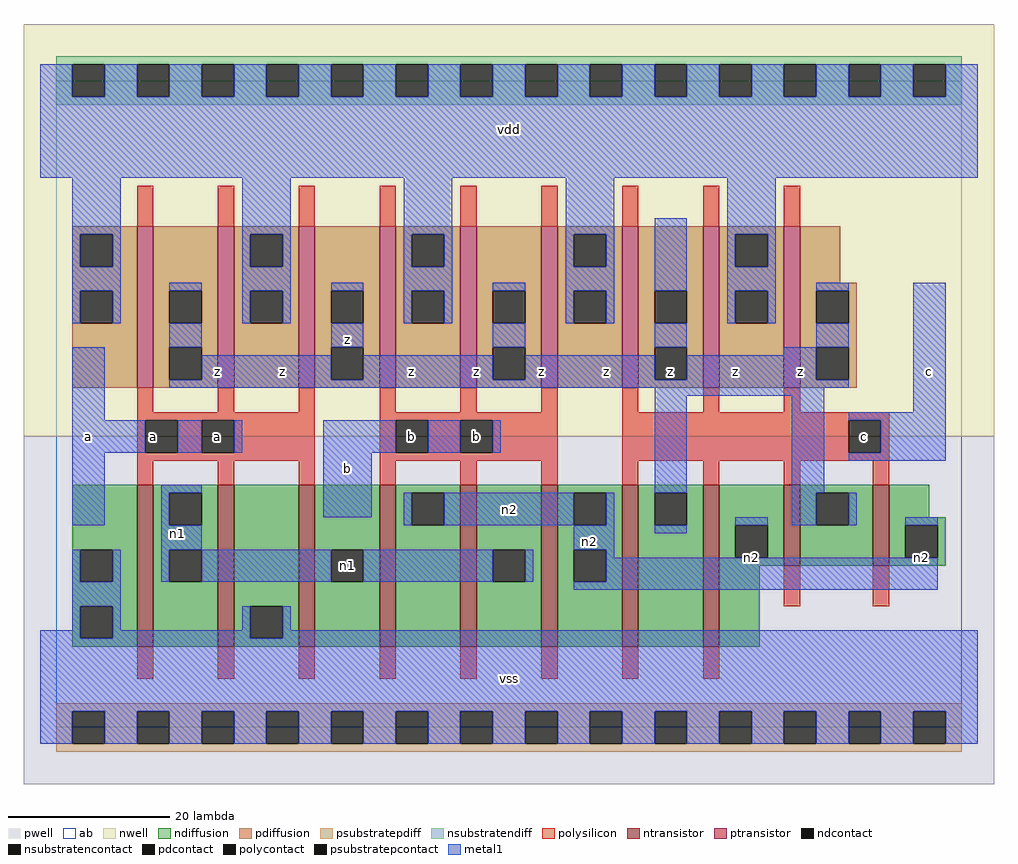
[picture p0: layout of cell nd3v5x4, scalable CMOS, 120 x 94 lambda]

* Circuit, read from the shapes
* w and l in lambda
.subckt nd3v5x4 a b c n1 n2 vdd vss z
M1 n1 a vss vss nfet w=20 l=2 m=3
M2 n2 b n1 vss nfet w=20 l=2 m=3
M3 z c n2 vss nfet w=20 l=2 m=2
M4 z c n2 vss nfet w=10 l=2 m=2
M5 z a vdd vdd pfet w=20 l=2 m=3
M6 vdd b z vdd pfet w=20 l=2 m=3
M7 z c vdd vdd pfet w=20 l=2 m=3
.ends

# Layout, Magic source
magic
tech scmos
<< ab >>
rect 0 0 112 80
<< pwell >>
rect -4 -7 116 36
<< nwell >>
rect -4 36 116 87
<< polysilicon >>
rect 10 62 12 67
rect 20 62 22 67
rect 30 62 32 67
rect 40 62 42 67
rect 50 62 52 67
rect 60 62 62 67
rect 70 62 72 67
rect 80 62 82 67
rect 90 62 92 67
rect 10 39 12 42
rect 20 39 22 42
rect 30 39 32 42
rect 10 38 32 39
rect 10 34 11 38
rect 15 34 18 38
rect 22 34 32 38
rect 10 33 32 34
rect 10 30 12 33
rect 20 30 22 33
rect 30 30 32 33
rect 40 39 42 42
rect 50 39 52 42
rect 60 39 62 42
rect 40 38 62 39
rect 40 34 42 38
rect 46 34 50 38
rect 54 34 62 38
rect 40 33 62 34
rect 40 30 42 33
rect 50 30 52 33
rect 60 30 62 33
rect 70 39 72 42
rect 80 39 82 42
rect 90 39 92 42
rect 70 38 103 39
rect 70 34 98 38
rect 102 34 103 38
rect 70 33 103 34
rect 70 30 72 33
rect 80 30 82 33
rect 90 30 92 33
rect 101 30 103 33
rect 90 15 92 20
rect 101 15 103 20
rect 10 6 12 10
rect 20 6 22 10
rect 30 6 32 10
rect 40 6 42 10
rect 50 6 52 10
rect 60 6 62 10
rect 70 6 72 10
rect 80 6 82 10
<< ndiffusion >>
rect 2 22 10 30
rect 2 18 3 22
rect 7 18 10 22
rect 2 15 10 18
rect 2 11 3 15
rect 7 11 10 15
rect 2 10 10 11
rect 12 29 20 30
rect 12 25 14 29
rect 18 25 20 29
rect 12 22 20 25
rect 12 18 14 22
rect 18 18 20 22
rect 12 10 20 18
rect 22 15 30 30
rect 22 11 24 15
rect 28 11 30 15
rect 22 10 30 11
rect 32 22 40 30
rect 32 18 34 22
rect 38 18 40 22
rect 32 10 40 18
rect 42 29 50 30
rect 42 25 44 29
rect 48 25 50 29
rect 42 10 50 25
rect 52 22 60 30
rect 52 18 54 22
rect 58 18 60 22
rect 52 10 60 18
rect 62 29 70 30
rect 62 25 64 29
rect 68 25 70 29
rect 62 22 70 25
rect 62 18 64 22
rect 68 18 70 22
rect 62 10 70 18
rect 72 29 80 30
rect 72 25 74 29
rect 78 25 80 29
rect 72 10 80 25
rect 82 25 90 30
rect 82 21 84 25
rect 88 21 90 25
rect 82 20 90 21
rect 92 29 101 30
rect 92 25 94 29
rect 98 25 101 29
rect 92 20 101 25
rect 103 26 108 30
rect 103 25 110 26
rect 103 21 105 25
rect 109 21 110 25
rect 103 20 110 21
rect 82 10 87 20
<< pdiffusion >>
rect 2 61 10 62
rect 2 57 3 61
rect 7 57 10 61
rect 2 54 10 57
rect 2 50 3 54
rect 7 50 10 54
rect 2 42 10 50
rect 12 54 20 62
rect 12 50 14 54
rect 18 50 20 54
rect 12 47 20 50
rect 12 43 14 47
rect 18 43 20 47
rect 12 42 20 43
rect 22 61 30 62
rect 22 57 24 61
rect 28 57 30 61
rect 22 54 30 57
rect 22 50 24 54
rect 28 50 30 54
rect 22 42 30 50
rect 32 54 40 62
rect 32 50 34 54
rect 38 50 40 54
rect 32 47 40 50
rect 32 43 34 47
rect 38 43 40 47
rect 32 42 40 43
rect 42 61 50 62
rect 42 57 44 61
rect 48 57 50 61
rect 42 54 50 57
rect 42 50 44 54
rect 48 50 50 54
rect 42 42 50 50
rect 52 54 60 62
rect 52 50 54 54
rect 58 50 60 54
rect 52 47 60 50
rect 52 43 54 47
rect 58 43 60 47
rect 52 42 60 43
rect 62 61 70 62
rect 62 57 64 61
rect 68 57 70 61
rect 62 54 70 57
rect 62 50 64 54
rect 68 50 70 54
rect 62 42 70 50
rect 72 54 80 62
rect 72 50 74 54
rect 78 50 80 54
rect 72 47 80 50
rect 72 43 74 47
rect 78 43 80 47
rect 72 42 80 43
rect 82 61 90 62
rect 82 57 84 61
rect 88 57 90 61
rect 82 54 90 57
rect 82 50 84 54
rect 88 50 90 54
rect 82 42 90 50
rect 92 55 97 62
rect 92 54 99 55
rect 92 50 94 54
rect 98 50 99 54
rect 92 47 99 50
rect 92 43 94 47
rect 98 43 99 47
rect 92 42 99 43
<< metal1 >>
rect -2 78 2 82
rect 6 78 10 82
rect 14 78 18 82
rect 22 78 26 82
rect 30 78 34 82
rect 38 78 42 82
rect 46 78 50 82
rect 54 78 58 82
rect 62 78 66 82
rect 70 78 74 82
rect 78 78 82 82
rect 86 78 90 82
rect 94 78 98 82
rect 102 78 106 82
rect 110 78 114 82
rect -2 68 114 78
rect 2 61 8 68
rect 2 57 3 61
rect 7 57 8 61
rect 2 54 8 57
rect 23 61 29 68
rect 23 57 24 61
rect 28 57 29 61
rect 2 50 3 54
rect 7 50 8 54
rect 14 54 18 55
rect 23 54 29 57
rect 43 61 49 68
rect 43 57 44 61
rect 48 57 49 61
rect 23 50 24 54
rect 28 50 29 54
rect 34 54 38 55
rect 43 54 49 57
rect 63 61 69 68
rect 63 57 64 61
rect 68 57 69 61
rect 43 50 44 54
rect 48 50 49 54
rect 54 54 58 55
rect 63 54 69 57
rect 63 50 64 54
rect 68 50 69 54
rect 74 54 78 63
rect 83 61 89 68
rect 83 57 84 61
rect 88 57 89 61
rect 83 54 89 57
rect 83 50 84 54
rect 88 50 89 54
rect 94 54 98 55
rect 14 47 18 50
rect 2 38 6 47
rect 34 47 38 50
rect 18 43 34 46
rect 54 47 58 50
rect 38 43 54 46
rect 74 47 78 50
rect 94 47 98 50
rect 58 43 74 46
rect 90 46 94 47
rect 78 43 94 46
rect 14 42 98 43
rect 74 41 95 42
rect 2 34 11 38
rect 15 34 18 38
rect 22 34 23 38
rect 33 34 42 38
rect 46 34 50 38
rect 54 34 55 38
rect 2 25 6 34
rect 13 29 18 30
rect 13 25 14 29
rect 33 26 39 34
rect 74 29 78 41
rect 43 25 44 29
rect 48 25 64 29
rect 68 25 69 29
rect 13 22 18 25
rect 64 22 69 25
rect 91 29 95 41
rect 106 39 110 55
rect 98 38 110 39
rect 102 34 110 38
rect 98 33 110 34
rect 74 24 78 25
rect 84 25 88 26
rect 91 25 94 29
rect 98 25 99 29
rect 105 25 109 26
rect 2 18 3 22
rect 7 18 8 22
rect 13 18 14 22
rect 18 18 34 22
rect 38 18 54 22
rect 58 18 59 22
rect 68 21 69 22
rect 68 18 109 21
rect 2 15 8 18
rect 64 17 109 18
rect 2 12 3 15
rect -2 11 3 12
rect 7 12 8 15
rect 23 12 24 15
rect 7 11 24 12
rect 28 12 29 15
rect 28 11 114 12
rect -2 2 114 11
rect -2 -2 2 2
rect 6 -2 10 2
rect 14 -2 18 2
rect 22 -2 26 2
rect 30 -2 34 2
rect 38 -2 42 2
rect 46 -2 50 2
rect 54 -2 58 2
rect 62 -2 66 2
rect 70 -2 74 2
rect 78 -2 82 2
rect 86 -2 90 2
rect 94 -2 98 2
rect 102 -2 106 2
rect 110 -2 114 2
<< ntransistor >>
rect 10 10 12 30
rect 20 10 22 30
rect 30 10 32 30
rect 40 10 42 30
rect 50 10 52 30
rect 60 10 62 30
rect 70 10 72 30
rect 80 10 82 30
rect 90 20 92 30
rect 101 20 103 30
<< ptransistor >>
rect 10 42 12 62
rect 20 42 22 62
rect 30 42 32 62
rect 40 42 42 62
rect 50 42 52 62
rect 60 42 62 62
rect 70 42 72 62
rect 80 42 82 62
rect 90 42 92 62
<< polycontact >>
rect 11 34 15 38
rect 18 34 22 38
rect 42 34 46 38
rect 50 34 54 38
rect 98 34 102 38
<< ndcontact >>
rect 3 18 7 22
rect 3 11 7 15
rect 14 25 18 29
rect 14 18 18 22
rect 24 11 28 15
rect 34 18 38 22
rect 44 25 48 29
rect 54 18 58 22
rect 64 25 68 29
rect 64 18 68 22
rect 74 25 78 29
rect 84 21 88 25
rect 94 25 98 29
rect 105 21 109 25
<< pdcontact >>
rect 3 57 7 61
rect 3 50 7 54
rect 14 50 18 54
rect 14 43 18 47
rect 24 57 28 61
rect 24 50 28 54
rect 34 50 38 54
rect 34 43 38 47
rect 44 57 48 61
rect 44 50 48 54
rect 54 50 58 54
rect 54 43 58 47
rect 64 57 68 61
rect 64 50 68 54
rect 74 50 78 54
rect 74 43 78 47
rect 84 57 88 61
rect 84 50 88 54
rect 94 50 98 54
rect 94 43 98 47
<< psubstratepcontact >>
rect 2 -2 6 2
rect 10 -2 14 2
rect 18 -2 22 2
rect 26 -2 30 2
rect 34 -2 38 2
rect 42 -2 46 2
rect 50 -2 54 2
rect 58 -2 62 2
rect 66 -2 70 2
rect 74 -2 78 2
rect 82 -2 86 2
rect 90 -2 94 2
rect 98 -2 102 2
rect 106 -2 110 2
<< nsubstratencontact >>
rect 2 78 6 82
rect 10 78 14 82
rect 18 78 22 82
rect 26 78 30 82
rect 34 78 38 82
rect 42 78 46 82
rect 50 78 54 82
rect 58 78 62 82
rect 66 78 70 82
rect 74 78 78 82
rect 82 78 86 82
rect 90 78 94 82
rect 98 78 102 82
rect 106 78 110 82
<< psubstratepdiff >>
rect 0 2 112 3
rect 0 -2 2 2
rect 6 -2 10 2
rect 14 -2 18 2
rect 22 -2 26 2
rect 30 -2 34 2
rect 38 -2 42 2
rect 46 -2 50 2
rect 54 -2 58 2
rect 62 -2 66 2
rect 70 -2 74 2
rect 78 -2 82 2
rect 86 -2 90 2
rect 94 -2 98 2
rect 102 -2 106 2
rect 110 -2 112 2
rect 0 -3 112 -2
<< nsubstratendiff >>
rect 0 82 112 83
rect 0 78 2 82
rect 6 78 10 82
rect 14 78 18 82
rect 22 78 26 82
rect 30 78 34 82
rect 38 78 42 82
rect 46 78 50 82
rect 54 78 58 82
rect 62 78 66 82
rect 70 78 74 82
rect 78 78 82 82
rect 86 78 90 82
rect 94 78 98 82
rect 102 78 106 82
rect 110 78 112 82
rect 0 77 112 78
<< labels >>
rlabel metal1 15 24 15 24 6 n1
rlabel polycontact 12 36 12 36 6 a
rlabel metal1 4 36 4 36 6 a
rlabel metal1 36 32 36 32 6 b
rlabel metal1 20 44 20 44 6 z
rlabel polycontact 20 36 20 36 6 a
rlabel metal1 28 44 28 44 6 z
rlabel metal1 36 48 36 48 6 z
rlabel metal1 56 6 56 6 6 vss
rlabel ndcontact 36 20 36 20 6 n1
rlabel metal1 44 44 44 44 6 z
rlabel polycontact 44 36 44 36 6 b
rlabel metal1 52 44 52 44 6 z
rlabel metal1 60 44 60 44 6 z
rlabel polycontact 52 36 52 36 6 b
rlabel metal1 56 74 56 74 6 vdd
rlabel metal1 66 23 66 23 6 n2
rlabel metal1 56 27 56 27 6 n2
rlabel metal1 86 21 86 21 6 n2
rlabel metal1 68 44 68 44 6 z
rlabel pdcontact 76 44 76 44 6 z
rlabel metal1 84 44 84 44 6 z
rlabel metal1 107 21 107 21 6 n2
rlabel metal1 92 44 92 44 6 z
rlabel metal1 108 44 108 44 6 c
rlabel polycontact 100 36 100 36 6 c
<< end >>
